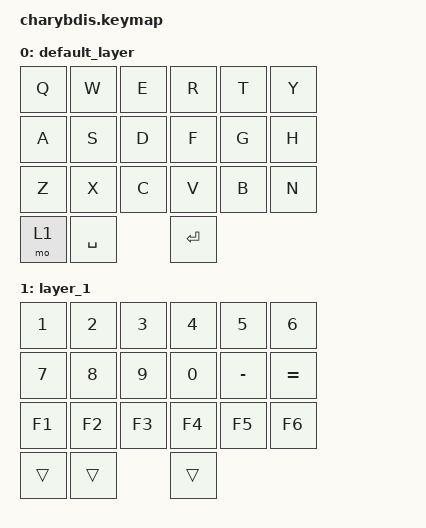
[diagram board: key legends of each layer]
/ {
    keymap {
        compatible = "zmk,keymap";

        default_layer {
            bindings = <
                &kp Q &kp W &kp E &kp R &kp T &kp Y
                &kp A &kp S &kp D &kp F &kp G &kp H
                &kp Z &kp X &kp C &kp V &kp B &kp N
                &mo 1 &kp SPACE &kp ENTER
            >;
        };

        layer_1 {
            bindings = <
                &kp N1 &kp N2 &kp N3 &kp N4 &kp N5 &kp N6
                &kp N7 &kp N8 &kp N9 &kp N0 &kp MINUS &kp EQUAL
                &kp F1 &kp F2 &kp F3 &kp F4 &kp F5 &kp F6
                &trans &trans &trans
            >;
        };
    };
};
